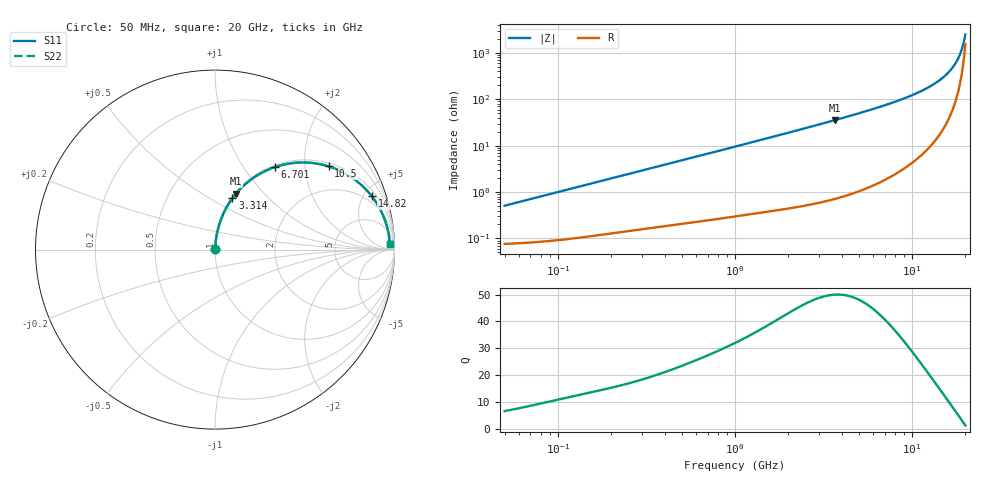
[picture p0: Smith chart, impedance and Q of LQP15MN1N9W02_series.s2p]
!Murata Part Number: LQP15MN1N9W02
!These Parameters are Measured in Series Mode Connection
!  o--[Z]--o
!Port1  Port2
!  o-------o
!Freq. Start=50[MHz] Stop=20[GHz], 401[Steps]
# Hz S RI R 50
!Freq.(Hz) S11(Real) S11(Imag) S21(Real) S21(Imag) S12(Real) S12(Imag) S22(Real) S22(Imag)
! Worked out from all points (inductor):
!   401 points, 50 MHz to 20 GHz, reference 50 ohm
!   read as one part in series: L = 1.6 nH near 51.52 MHz
!   highest Q = 50 at 3.681 GHz (marker M1), where L = 1.54 nH
!   S11 on the Smith chart (normalised r, x): 50 MHz: 1.00, +0.01; 3.314 GHz: 1.01, +0.64; 6.701 GHz: 1.03, +1.40; 10.5 GHz: 1.10, +2.65; 14.82 GHz: 1.43, +5.72; 20 GHz: 32, +39
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5e7  0.000787 0.00502  0.9992 -0.00502  0.9992 -0.00502  0.000787 0.00502
1.364002e8  0.00124 0.0135  0.9988 -0.0135  0.9988 -0.0135  0.00124 0.0135
3.721004e8  0.00305 0.0358  0.9969 -0.0358  0.9969 -0.0358  0.00305 0.0358
1e9  0.0119 0.0938  0.9881 -0.0938  0.9881 -0.0938  0.0119 0.0938
1.689197e9  0.0288 0.1551  0.9712 -0.1551  0.9712 -0.1551  0.0288 0.1551
2.728004e9  0.0681 0.2417  0.9319 -0.2417  0.9319 -0.2417  0.0681 0.2417
3.314454e9  0.0972 0.2864  0.9028 -0.2864  0.9028 -0.2864  0.0972 0.2864
3.680849e9  0.1177 0.3124  0.8823 -0.3124  0.8823 -0.3124  0.1177 0.3124
5.041459e9  0.2065 0.3945  0.7935 -0.3945  0.7935 -0.3945  0.2065 0.3945
6.701223e9  0.3338 0.4598  0.6662 -0.4598  0.6662 -0.4598  0.3338 0.4598
7.442007e9  0.3937 0.4759  0.6063 -0.4759  0.6063 -0.4759  0.3937 0.4759
8.907419e9  0.5122 0.4849  0.4878 -0.4849  0.4878 -0.4849  0.5122 0.4849
1.050288e10  0.6333 0.4637  0.3667 -0.4637  0.3667 -0.4637  0.6333 0.4637
1.276073e10  0.7775 0.3909  0.2225 -0.3909  0.2225 -0.3909  0.7775 0.3909
1.482269e10  0.8742 0.2965  0.1258 -0.2965  0.1258 -0.2965  0.8742 0.2965
1.646126e10  0.9264 0.2124  0.0736 -0.2124  0.0736 -0.2124  0.9264 0.2124
1.721783e10  0.9437 0.1726  0.0563 -0.1726  0.0563 -0.1726  0.9437 0.1726
1.774144e10  0.9533 0.1451  0.0467 -0.1451  0.0467 -0.1451  0.9533 0.1451
1.828096e10  0.9612 0.117  0.0388 -0.117  0.0388 -0.117  0.9612 0.117
1.88369e10  0.9674 0.0883  0.0326 -0.0883  0.0326 -0.0883  0.9674 0.0883
1.970266e10  0.9736 0.0445  0.0264 -0.0445  0.0264 -0.0445  0.9736 0.0445
2e10  0.9747 0.0298  0.0253 -0.0298  0.0253 -0.0298  0.9747 0.0298
